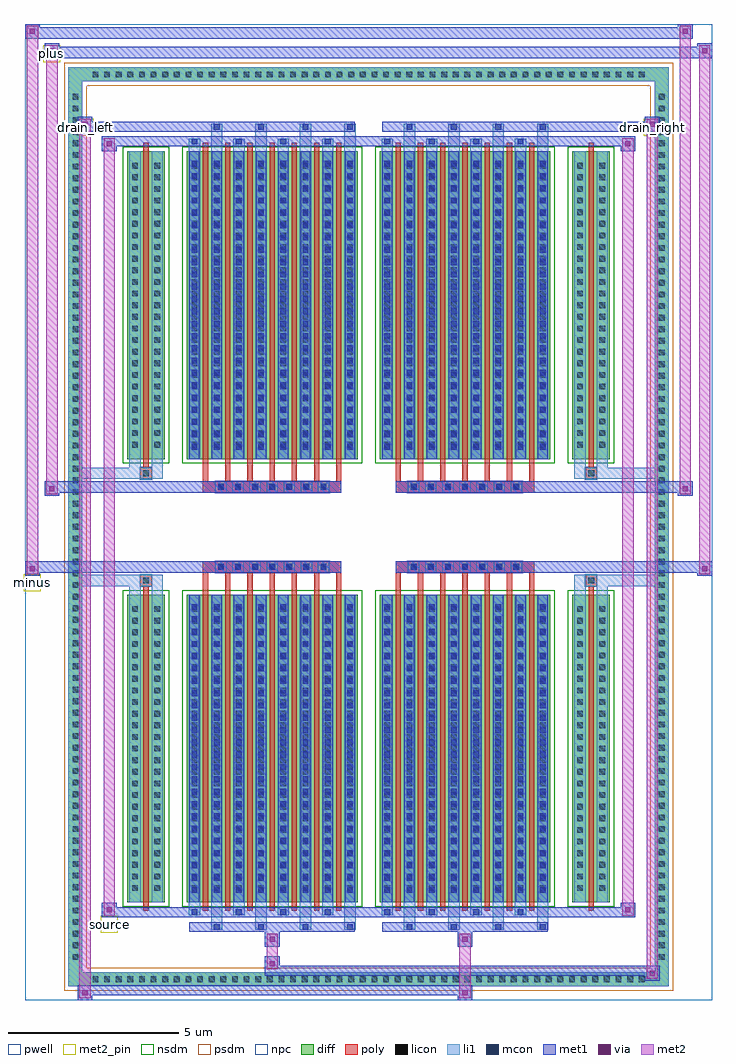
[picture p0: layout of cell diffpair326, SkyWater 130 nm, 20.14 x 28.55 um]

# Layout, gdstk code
import gdstk
lib = gdstk.Library(unit=1e-6, precision=5e-09)
def R(c, l, rs):  # rectangles x0, y0, x1, y1
    for r in rs: c.add(gdstk.rectangle(r[:2], r[2:], *l))
def A(c, l, x, y, w, h, nx, ny, dx, dy):  # array of equal rectangles
    R(c, l, [(x+i*dx, y+j*dy, x+i*dx+w, y+j*dy+h) for i in range(nx) for j in range(ny)])
def P(c, l, *ps):  # polygons
    for p in ps: c.add(gdstk.Polygon(p, *l))
pwell = (64, 44)
diff = (65, 20)
poly = (66, 20)
licon = (66, 44)
li1 = (67, 20)
mcon = (67, 44)
met1 = (68, 20)
via = (68, 44)
met2_pin = (69, 16)
met2 = (69, 20)
nsdm = (93, 44)
psdm = (94, 20)
npc = (95, 20)

diffpair326 = lib.new_cell('diffpair326')
R(diffpair326, pwell, [(-10.05,-13.84,10.05,14.71), (-7.37,-12.03,-0.01,-0.805), (0.01,-12.03,7.37,-0.805), (-7.37,0.805,-0.01,12.03), (0.01,0.805,7.37,12.03)])
A(diffpair326, diff, -8.195, -13.44, 0.41, 0.41, 48, 2, 0.34, 26.47)
A(diffpair326, diff, -8.78, -12.785, 0.41, 0.41, 1, 75, 0, 0.34)
A(diffpair326, diff, 8.37, -12.785, 0.41, 0.41, 1, 75, 0, 0.34)
R(diffpair326, diff, [(-8.195,-13.44,8.195,-13.03), (-8.78,-12.785,-8.37,12.785), (8.37,-12.785,8.78,12.785), (-7.06,-10.985,-5.96,-1.985), (-5.32,-10.985,-0.32,-1.985), (0.32,-10.985,5.32,-1.985), (5.96,-10.985,7.06,-1.985), (-7.06,1.985,-5.96,10.985), (-5.32,1.985,-0.32,10.985), (0.32,1.985,5.32,10.985), (5.96,1.985,7.06,10.985), (-8.195,13.03,8.195,13.44)])
P(diffpair326, diff, [(8.78,13.44),(-8.78,13.44),(-8.78,-13.03),(-8.37,-13.03),(-8.37,13.03),(8.37,13.03),(8.37,-13.03),(-8.37,-13.03),(-8.78,-13.03),(-8.78,-13.44),(8.78,-13.44)])
A(diffpair326, poly, -4.845, -11.235, 0.15, 9.5, 7, 2, 0.65, 12.97)
A(diffpair326, poly, 0.795, -11.235, 0.15, 9.5, 7, 2, 0.65, 12.97)
A(diffpair326, poly, -4.845, -1.735, 0.15, 0.4, 7, 2, 0.65, 3.07)
A(diffpair326, poly, 0.795, -1.735, 0.15, 0.4, 7, 2, 0.65, 3.07)
A(diffpair326, poly, -4.485, -1.335, 0.33, 0.33, 7, 2, 0.5, 2.34)
A(diffpair326, poly, 1.155, -1.335, 0.33, 0.33, 7, 2, 0.5, 2.34)
R(diffpair326, poly, [(-6.585,-11.235,-6.435,-1.735), (6.435,-11.235,6.585,-1.735), (-6.675,-1.735,-6.345,-1.405), (-6.675,-1.735,-6.345,-1.405), (6.345,-1.735,6.675,-1.405), (6.345,-1.735,6.675,-1.405), (-4.845,-1.335,-0.795,-1.005), (0.795,-1.335,4.845,-1.005), (-4.845,1.005,-0.795,1.335), (0.795,1.005,4.845,1.335), (-6.675,1.405,-6.345,1.735), (-6.675,1.405,-6.345,1.735), (6.345,1.405,6.675,1.735), (6.345,1.405,6.675,1.735), (-6.585,1.735,-6.435,11.235), (6.435,1.735,6.585,11.235)])
A(diffpair326, licon, -8.075, -13.32, 0.17, 0.17, 48, 2, 0.34, 26.47)
A(diffpair326, licon, -8.66, -12.665, 0.17, 0.17, 1, 75, 0, 0.34)
A(diffpair326, licon, 8.49, -12.665, 0.17, 0.17, 1, 75, 0, 0.34)
A(diffpair326, licon, -6.92, -10.65, 0.17, 0.17, 1, 25, 0, 0.34)
A(diffpair326, licon, -6.27, -10.65, 0.17, 0.17, 1, 25, 0, 0.34)
A(diffpair326, licon, -5.18, -10.65, 0.17, 0.17, 8, 25, 0.65, 0.34)
A(diffpair326, licon, 0.46, -10.65, 0.17, 0.17, 8, 25, 0.65, 0.34)
A(diffpair326, licon, 6.1, -10.65, 0.17, 0.17, 1, 25, 0, 0.34)
A(diffpair326, licon, 6.75, -10.65, 0.17, 0.17, 1, 25, 0, 0.34)
A(diffpair326, licon, -4.405, -1.255, 0.17, 0.17, 7, 2, 0.5, 2.34)
A(diffpair326, licon, 1.235, -1.255, 0.17, 0.17, 7, 2, 0.5, 2.34)
A(diffpair326, licon, -6.92, 2.32, 0.17, 0.17, 1, 25, 0, 0.34)
A(diffpair326, licon, -6.27, 2.32, 0.17, 0.17, 1, 25, 0, 0.34)
A(diffpair326, licon, -5.18, 2.32, 0.17, 0.17, 8, 25, 0.65, 0.34)
A(diffpair326, licon, 0.46, 2.32, 0.17, 0.17, 8, 25, 0.65, 0.34)
A(diffpair326, licon, 6.1, 2.32, 0.17, 0.17, 1, 25, 0, 0.34)
A(diffpair326, licon, 6.75, 2.32, 0.17, 0.17, 1, 25, 0, 0.34)
R(diffpair326, licon, [(-6.595,-1.655,-6.425,-1.485), (6.425,-1.655,6.595,-1.485), (-6.595,1.485,-6.425,1.655), (6.425,1.485,6.595,1.655)])
A(diffpair326, li1, -8.155, -13.4, 0.33, 0.33, 48, 2, 0.34, 26.47)
A(diffpair326, li1, -8.74, -12.745, 0.33, 0.33, 1, 75, 0, 0.34)
A(diffpair326, li1, 8.41, -12.745, 0.33, 0.33, 1, 75, 0, 0.34)
A(diffpair326, li1, -4.61, -11.79, 0.33, 0.805, 4, 2, 1.3, 22.775)
A(diffpair326, li1, -4.53, -11.79, 0.17, 0.17, 4, 2, 1.3, 23.41)
A(diffpair326, li1, 1.03, -11.79, 0.33, 0.805, 4, 2, 1.3, 22.775)
A(diffpair326, li1, 1.11, -11.79, 0.17, 0.17, 4, 2, 1.3, 23.41)
A(diffpair326, li1, -5.26, -11.36, 0.33, 0.375, 4, 2, 1.3, 22.345)
A(diffpair326, li1, -5.18, -11.36, 0.17, 0.17, 4, 2, 1.3, 22.55)
A(diffpair326, li1, 0.38, -11.36, 0.33, 0.375, 4, 2, 1.3, 22.345)
A(diffpair326, li1, 0.46, -11.36, 0.17, 0.17, 4, 2, 1.3, 22.55)
A(diffpair326, li1, -5.26, -10.985, 0.33, 9, 8, 2, 0.65, 12.97)
A(diffpair326, li1, 0.38, -10.985, 0.33, 9, 8, 2, 0.65, 12.97)
A(diffpair326, li1, -7, -10.73, 0.33, 0.33, 1, 25, 0, 0.34)
A(diffpair326, li1, -6.35, -10.73, 0.33, 0.33, 1, 25, 0, 0.34)
A(diffpair326, li1, -5.26, -10.73, 0.33, 0.33, 8, 25, 0.65, 0.34)
A(diffpair326, li1, 0.38, -10.73, 0.33, 0.33, 8, 25, 0.65, 0.34)
A(diffpair326, li1, 6.02, -10.73, 0.33, 0.33, 1, 25, 0, 0.34)
A(diffpair326, li1, 6.67, -10.73, 0.33, 0.33, 1, 25, 0, 0.34)
A(diffpair326, li1, -5.18, -10.71, 0.17, 0.17, 8, 24, 0.65, 0.36)
A(diffpair326, li1, -5.18, -10.71, 0.17, 8.45, 8, 2, 0.65, 12.97)
A(diffpair326, li1, 0.46, -10.71, 0.17, 0.17, 8, 24, 0.65, 0.36)
A(diffpair326, li1, 0.46, -10.71, 0.17, 8.45, 8, 2, 0.65, 12.97)
A(diffpair326, li1, -4.485, -1.335, 0.33, 0.33, 7, 2, 0.5, 2.34)
A(diffpair326, li1, 1.155, -1.335, 0.33, 0.33, 7, 2, 0.5, 2.34)
A(diffpair326, li1, -7, 2.24, 0.33, 0.33, 1, 25, 0, 0.34)
A(diffpair326, li1, -6.35, 2.24, 0.33, 0.33, 1, 25, 0, 0.34)
A(diffpair326, li1, -5.26, 2.24, 0.33, 0.33, 8, 25, 0.65, 0.34)
A(diffpair326, li1, 0.38, 2.24, 0.33, 0.33, 8, 25, 0.65, 0.34)
A(diffpair326, li1, 6.02, 2.24, 0.33, 0.33, 1, 25, 0, 0.34)
A(diffpair326, li1, 6.67, 2.24, 0.33, 0.33, 1, 25, 0, 0.34)
A(diffpair326, li1, -5.18, 2.26, 0.17, 0.17, 8, 24, 0.65, 0.36)
A(diffpair326, li1, 0.46, 2.26, 0.17, 0.17, 8, 24, 0.65, 0.36)
R(diffpair326, li1, [(-8.78,-13.44,-8.37,-13.03), (-8.78,-13.44,-8.37,-13.03), (-8.37,-13.44,8.37,-13.03), (8.37,-13.44,8.78,-13.03), (8.37,-13.44,8.78,-13.03), (-8.78,-13.03,-8.37,13.03), (8.37,-13.03,8.78,13.03), (-7,-10.985,-6.67,-1.985), (-6.35,-10.985,-6.02,-1.985), (6.02,-10.985,6.35,-1.985), (6.67,-10.985,7,-1.985), (-7,-1.985,-6.67,-1.405), (-6.35,-1.985,-6.02,-1.405), (6.02,-1.985,6.35,-1.405), (6.67,-1.985,7,-1.405), (-8.78,-1.735,-6.675,-1.405), (-7,-1.735,-6.675,-1.405), (-6.675,-1.735,-6.345,-1.405), (-6.345,-1.735,-6.02,-1.405), (6.02,-1.735,6.345,-1.405), (6.345,-1.735,6.675,-1.405), (6.345,-1.735,8.78,-1.405), (6.675,-1.735,7,-1.405), (-8.78,1.405,-6.675,1.735), (-7,1.405,-6.675,1.735), (-7,1.405,-6.67,1.985), (-6.675,1.405,-6.345,1.735), (-6.35,1.405,-6.02,1.985), (-6.345,1.405,-6.02,1.735), (6.02,1.405,6.345,1.735), (6.02,1.405,6.35,1.985), (6.345,1.405,6.675,1.735), (6.345,1.405,8.78,1.735), (6.67,1.405,7,1.985), (6.675,1.405,7,1.735), (-7,1.985,-6.67,10.985), (-6.35,1.985,-6.02,10.985), (6.02,1.985,6.35,10.985), (6.67,1.985,7,10.985), (-8.78,13.03,-8.37,13.44), (-8.78,13.03,-8.37,13.44), (-8.37,13.03,8.37,13.44), (8.37,13.03,8.78,13.44), (8.37,13.03,8.78,13.44)])
A(diffpair326, mcon, -4.53, -11.79, 0.17, 0.17, 4, 2, 1.3, 23.41)
A(diffpair326, mcon, 1.11, -11.79, 0.17, 0.17, 4, 2, 1.3, 23.41)
A(diffpair326, mcon, -5.18, -11.36, 0.17, 0.17, 4, 2, 1.3, 22.55)
A(diffpair326, mcon, 0.46, -11.36, 0.17, 0.17, 4, 2, 1.3, 22.55)
A(diffpair326, mcon, -5.18, -10.71, 0.17, 0.17, 8, 24, 0.65, 0.36)
A(diffpair326, mcon, 0.46, -10.71, 0.17, 0.17, 8, 24, 0.65, 0.36)
A(diffpair326, mcon, -4.405, -1.255, 0.17, 0.17, 7, 2, 0.5, 2.34)
A(diffpair326, mcon, 1.235, -1.255, 0.17, 0.17, 7, 2, 0.5, 2.34)
A(diffpair326, mcon, -5.18, 2.26, 0.17, 0.17, 8, 24, 0.65, 0.36)
A(diffpair326, mcon, 0.46, 2.26, 0.17, 0.17, 8, 24, 0.65, 0.36)
A(diffpair326, met1, -4.59, -11.85, 0.29, 0.29, 4, 2, 1.3, 23.41)
A(diffpair326, met1, 1.05, -11.85, 0.29, 0.29, 4, 2, 1.3, 23.41)
A(diffpair326, met1, -5.24, -11.42, 0.29, 0.29, 4, 2, 1.3, 22.55)
A(diffpair326, met1, 0.4, -11.42, 0.29, 0.29, 4, 2, 1.3, 22.55)
A(diffpair326, met1, -5.24, -10.985, 0.29, 9, 8, 2, 0.65, 12.97)
A(diffpair326, met1, 0.4, -10.985, 0.29, 9, 8, 2, 0.65, 12.97)
A(diffpair326, met1, -5.24, -10.77, 0.29, 0.29, 8, 24, 0.65, 0.36)
A(diffpair326, met1, 0.4, -10.77, 0.29, 0.29, 8, 24, 0.65, 0.36)
A(diffpair326, met1, -4.465, -1.315, 0.29, 0.29, 7, 2, 0.5, 2.34)
A(diffpair326, met1, 1.175, -1.315, 0.29, 0.29, 7, 2, 0.5, 2.34)
A(diffpair326, met1, -5.24, 2.2, 0.29, 0.29, 8, 24, 0.65, 0.36)
A(diffpair326, met1, 0.4, 2.2, 0.29, 0.29, 8, 24, 0.65, 0.36)
R(diffpair326, met1, [(-8.51,-13.84,-8.08,-13.41), (2.605,-13.84,3.035,-13.41), (-8.51,-13.7,3.035,-13.41), (8.08,-13.27,8.51,-12.84), (-3.035,-13.13,8.51,-12.84), (-3.035,-12.99,-2.605,-12.56), (-3.035,-12.28,-2.605,-11.85), (2.605,-12.28,3.035,-11.85), (-5.24,-11.85,-0.4,-11.56), (0.4,-11.85,5.24,-11.56), (-7.8,-11.42,-7.37,-10.99), (-7.8,-11.42,-5.24,-11.13), (-5.24,-11.42,-0.4,-11.13), (-0.4,-11.42,0.4,-11.13), (0.4,-11.42,5.24,-11.13), (5.24,-11.42,7.8,-11.13), (7.37,-11.42,7.8,-10.99), (-10.05,-1.435,-9.62,-1.005), (9.62,-1.435,10.05,-1.005), (-10.05,-1.335,-0.795,-1.005), (-4.845,-1.335,-0.795,-1.005), (0.795,-1.335,4.845,-1.005), (0.795,-1.335,10.05,-1.005), (-9.48,0.905,-9.05,1.335), (9.05,0.905,9.48,1.335), (-9.48,1.005,-4.845,1.335), (-4.845,1.005,-0.795,1.335), (0.795,1.005,4.845,1.335), (4.845,1.005,9.48,1.335), (-7.8,10.99,-7.37,11.42), (7.37,10.99,7.8,11.42), (-7.8,11.13,-5.24,11.42), (-5.24,11.13,-0.4,11.42), (-0.4,11.13,0.4,11.42), (0.4,11.13,5.24,11.42), (5.24,11.13,7.8,11.42), (-8.51,11.56,-8.08,11.99), (-8.51,11.56,-5.24,11.85), (-5.24,11.56,-0.4,11.85), (0.4,11.56,5.24,11.85), (5.24,11.56,8.51,11.85), (8.08,11.56,8.51,11.99), (-9.48,13.71,-9.05,14.14), (-9.48,13.71,-7.37,14.04), (-7.37,13.71,7.37,14.04), (7.37,13.71,10.05,14.04), (9.62,13.71,10.05,14.14), (-10.05,14.28,-9.62,14.71), (-10.05,14.28,-7.37,14.61), (-7.37,14.28,7.37,14.61), (7.37,14.28,9.48,14.61), (9.05,14.28,9.48,14.71)])
R(diffpair326, via, [(-8.37,-13.7,-8.22,-13.55), (2.745,-13.7,2.895,-13.55), (8.22,-13.13,8.37,-12.98), (-2.895,-12.85,-2.745,-12.7), (-2.895,-12.14,-2.745,-11.99), (2.745,-12.14,2.895,-11.99), (-7.66,-11.28,-7.51,-11.13), (7.51,-11.28,7.66,-11.13), (-9.91,-1.295,-9.76,-1.145), (9.76,-1.295,9.91,-1.145), (-9.34,1.045,-9.19,1.195), (9.19,1.045,9.34,1.195), (-7.66,11.13,-7.51,11.28), (7.51,11.13,7.66,11.28), (-8.37,11.7,-8.22,11.85), (8.22,11.7,8.37,11.85), (-9.34,13.85,-9.19,14), (9.76,13.85,9.91,14), (-9.91,14.42,-9.76,14.57), (9.19,14.42,9.34,14.57)])
R(diffpair326, met2_pin, [(-7.835,-11.87,-7.335,-11.37), (-10.085,-1.885,-9.585,-1.385), (-8.545,11.44,-8.045,11.94), (8.045,11.44,8.545,11.94), (-9.515,13.59,-9.015,14.09)])
R(diffpair326, met2, [(-8.46,-13.79,-8.13,-13.46), (-8.46,-13.79,-8.13,11.94), (2.655,-13.79,2.985,-13.46), (2.655,-13.46,2.985,-12.23), (8.13,-13.22,8.46,-12.89), (8.13,-13.22,8.46,11.94), (-2.985,-12.94,-2.655,-12.61), (-2.985,-12.61,-2.655,-12.23), (-2.985,-12.23,-2.655,-11.9), (2.655,-12.23,2.985,-11.9), (-7.75,-11.37,-7.42,-11.04), (-7.75,-11.37,-7.42,11.37), (7.42,-11.37,7.75,-11.04), (7.42,-11.37,7.75,11.37), (-10,-1.385,-9.67,-1.055), (-10,-1.385,-9.67,14.66), (9.67,-1.385,10,-1.055), (9.67,-1.385,10,14.09), (-9.43,0.955,-9.1,1.285), (-9.43,0.955,-9.1,14.09), (9.1,0.955,9.43,1.285), (9.1,0.955,9.43,14.66), (-7.75,11.04,-7.42,11.37), (7.42,11.04,7.75,11.37), (-8.46,11.61,-8.13,11.94), (8.13,11.61,8.46,11.94), (-9.43,13.76,-9.1,14.09), (9.67,13.76,10,14.09), (-10,14.33,-9.67,14.66), (9.1,14.33,9.43,14.66)])
P(diffpair326, met2, [(10,-1.385),(10,-1.385),(10,-1.055),(10,-1.055)],
  [(10,13.76),(10,13.76),(10,14.09),(10,14.09)],
  [(-9.67,-1.385),(-9.67,-1.385),(-9.67,-1.055),(-9.67,-1.055)],
  [(-9.67,14.33),(-9.67,14.33),(-9.67,14.66),(-9.67,14.66)],
  [(9.43,0.955),(9.43,0.955),(9.43,1.285),(9.43,1.285)],
  [(9.43,14.33),(9.43,14.33),(9.43,14.66),(9.43,14.66)],
  [(-9.1,0.955),(-9.1,0.955),(-9.1,1.285),(-9.1,1.285)],
  [(-9.1,13.76),(-9.1,13.76),(-9.1,14.09),(-9.1,14.09)],
  [(-8.13,-13.79),(-8.13,-13.79),(-8.13,-13.46),(-8.13,-13.46)],
  [(-8.13,11.61),(-8.13,11.61),(-8.13,11.94),(-8.13,11.94)],
  [(8.46,-13.22),(8.46,-13.22),(8.46,-12.89),(8.46,-12.89)],
  [(8.46,11.61),(8.46,11.61),(8.46,11.94),(8.46,11.94)],
  [(-7.42,-11.37),(-7.42,-11.37),(-7.42,-11.04),(-7.42,-11.04)],
  [(-7.42,11.04),(-7.42,11.04),(-7.42,11.37),(-7.42,11.37)],
  [(7.75,-11.37),(7.75,-11.37),(7.75,-11.04),(7.75,-11.04)],
  [(7.75,11.04),(7.75,11.04),(7.75,11.37),(7.75,11.37)])
R(diffpair326, nsdm, [(-7.19,-11.115,-5.83,-1.855), (-5.45,-11.115,-0.19,-1.855), (0.19,-11.115,5.45,-1.855), (5.83,-11.115,7.19,-1.855), (-7.19,1.855,-5.83,11.115), (-5.45,1.855,-0.19,11.115), (0.19,1.855,5.45,11.115), (5.83,1.855,7.19,11.115)])
P(diffpair326, psdm, [(8.91,13.57),(-8.91,13.57),(-8.91,-12.9),(-8.24,-12.9),(-8.24,12.9),(8.24,12.9),(8.24,-12.9),(-8.24,-12.9),(-8.91,-12.9),(-8.91,-13.57),(8.91,-13.57)])
A(diffpair326, npc, -4.505, -1.355, 0.37, 0.37, 7, 2, 0.5, 2.34)
A(diffpair326, npc, 1.135, -1.355, 0.37, 0.37, 7, 2, 0.5, 2.34)
R(diffpair326, npc, [(-6.695,-1.755,-6.325,-1.385), (6.325,-1.755,6.695,-1.385), (-4.505,-1.355,-3.635,-0.985), (-4.505,-1.355,-3.635,-0.985), (-4.005,-1.355,-3.135,-0.985), (-4.005,-1.355,-3.135,-0.985), (-3.505,-1.355,-2.635,-0.985), (-3.505,-1.355,-2.635,-0.985), (-3.005,-1.355,-2.135,-0.985), (-3.005,-1.355,-2.135,-0.985), (-2.505,-1.355,-1.635,-0.985), (-2.505,-1.355,-1.635,-0.985), (-2.005,-1.355,-1.135,-0.985), (-2.005,-1.355,-1.135,-0.985), (1.135,-1.355,2.005,-0.985), (1.135,-1.355,2.005,-0.985), (1.635,-1.355,2.505,-0.985), (1.635,-1.355,2.505,-0.985), (2.135,-1.355,3.005,-0.985), (2.135,-1.355,3.005,-0.985), (2.635,-1.355,3.505,-0.985), (2.635,-1.355,3.505,-0.985), (3.135,-1.355,4.005,-0.985), (3.135,-1.355,4.005,-0.985), (3.635,-1.355,4.505,-0.985), (3.635,-1.355,4.505,-0.985), (-4.505,0.985,-3.635,1.355), (-4.505,0.985,-3.635,1.355), (-4.005,0.985,-3.135,1.355), (-4.005,0.985,-3.135,1.355), (-3.505,0.985,-2.635,1.355), (-3.505,0.985,-2.635,1.355), (-3.005,0.985,-2.135,1.355), (-3.005,0.985,-2.135,1.355), (-2.505,0.985,-1.635,1.355), (-2.505,0.985,-1.635,1.355), (-2.005,0.985,-1.135,1.355), (-2.005,0.985,-1.135,1.355), (1.135,0.985,2.005,1.355), (1.135,0.985,2.005,1.355), (1.635,0.985,2.505,1.355), (1.635,0.985,2.505,1.355), (2.135,0.985,3.005,1.355), (2.135,0.985,3.005,1.355), (2.635,0.985,3.505,1.355), (2.635,0.985,3.505,1.355), (3.135,0.985,4.005,1.355), (3.135,0.985,4.005,1.355), (3.635,0.985,4.505,1.355), (3.635,0.985,4.505,1.355), (-6.695,1.385,-6.325,1.755), (6.325,1.385,6.695,1.755)])
diffpair326.add(gdstk.Label('minus', (-9.835,-1.635), layer=69, texttype=5))
diffpair326.add(gdstk.Label('drain_right', (8.295,11.69), layer=69, texttype=5))
diffpair326.add(gdstk.Label('drain_left', (-8.295,11.69), layer=69, texttype=5))
diffpair326.add(gdstk.Label('source', (-7.585,-11.62), layer=69, texttype=5))
diffpair326.add(gdstk.Label('plus', (-9.265,13.84), layer=69, texttype=5))

lib.write_gds('diffpair326.gds')
